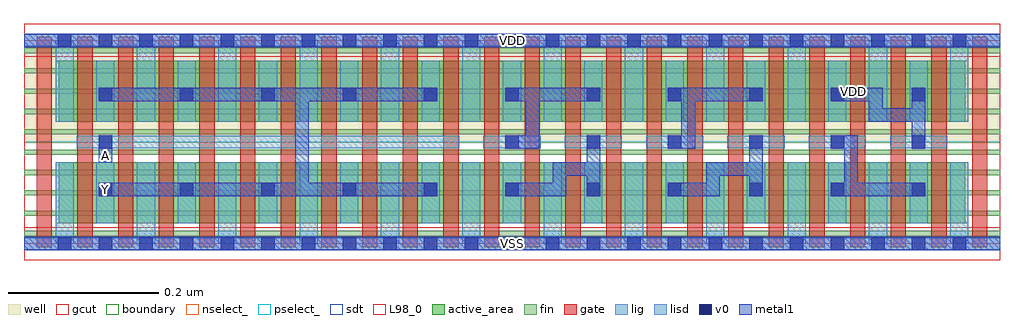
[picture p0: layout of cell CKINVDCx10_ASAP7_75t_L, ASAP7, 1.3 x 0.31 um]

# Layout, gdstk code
import gdstk
lib = gdstk.Library(unit=1e-6, precision=2.5e-10)
def R(c, l, rs):  # rectangles x0, y0, x1, y1
    for r in rs: c.add(gdstk.rectangle(r[:2], r[2:], *l))
def A(c, l, x, y, w, h, nx, ny, dx, dy):  # array of equal rectangles
    R(c, l, [(x+i*dx, y+j*dy, x+i*dx+w, y+j*dy+h) for i in range(nx) for j in range(ny)])
def P(c, l, *ps):  # polygons
    for p in ps: c.add(gdstk.Polygon(p, *l))
well = (1, 0)
fin = (2, 0)
gate = (7, 0)
gcut = (10, 0)
active_area = (11, 0)
nselect_ = (12, 0)
pselect_ = (13, 0)
lig = (16, 0)
lisd = (17, 0)
v0 = (18, 0)
metal1 = (19, 0)
sdt = (88, 0)
L98_0 = (98, 0)
boundary = (100, 0)

ckinvdcx10_asap7_75t_l = lib.new_cell('CKINVDCx10_ASAP7_75t_L')
R(ckinvdcx10_asap7_75t_l, well, [(0,0.135,1.296,0.27)])
A(ckinvdcx10_asap7_75t_l, fin, 0, 0.01, 1.296, 0.007, 1, 10, 0, 0.027)
A(ckinvdcx10_asap7_75t_l, gate, 0.017, -0.005, 0.02, 0.28, 24, 1, 0.054, 0)
R(ckinvdcx10_asap7_75t_l, gcut, [(0,-0.022,1.296,0.022), (0,0.248,1.296,0.292)])
R(ckinvdcx10_asap7_75t_l, active_area, [(0.046,0.027,1.25,0.108), (0.046,0.162,1.25,0.243)])
R(ckinvdcx10_asap7_75t_l, nselect_, [(0,0,1.296,0.135)])
R(ckinvdcx10_asap7_75t_l, pselect_, [(0,0.135,1.296,0.27)])
A(ckinvdcx10_asap7_75t_l, lig, 0.61, 0.127, 0.076, 0.016, 6, 1, 0.108, 0)
R(ckinvdcx10_asap7_75t_l, lig, [(0,-0.008,1.296,0.008), (0.07,0.127,0.578,0.143), (0,0.262,1.296,0.278)])
A(ckinvdcx10_asap7_75t_l, lisd, 0.042, 0, 0.024, 0.108, 12, 2, 0.108, 0.162)
A(ckinvdcx10_asap7_75t_l, lisd, 0.096, 0.027, 0.024, 0.081, 11, 2, 0.108, 0.135)
A(ckinvdcx10_asap7_75t_l, v0, 0.045, -0.009, 0.018, 0.018, 23, 2, 0.054, 0.27)
A(ckinvdcx10_asap7_75t_l, v0, 0.099, 0.063, 0.018, 0.018, 11, 2, 0.108, 0.126)
A(ckinvdcx10_asap7_75t_l, v0, 0.639, 0.126, 0.018, 0.018, 6, 1, 0.108, 0)
R(ckinvdcx10_asap7_75t_l, v0, [(0.099,0.126,0.117,0.144)])
R(ckinvdcx10_asap7_75t_l, metal1, [(0,-0.009,1.296,0.009), (0.099,0.108,0.117,0.144), (0,0.261,1.296,0.279)])
P(ckinvdcx10_asap7_75t_l, metal1, [(1.197,0.081),(1.107,0.081),(1.107,0.144),(1.071,0.144),(1.071,0.126),(1.089,0.126),(1.089,0.081),(1.071,0.081),(1.071,0.063),(1.197,0.063)],
  [(0.924,0.09),(0.963,0.09),(0.963,0.063),(0.981,0.063),(0.981,0.144),(0.963,0.144),(0.963,0.108),(0.906,0.108),(0.906,0.081),(0.855,0.081),(0.855,0.063),(0.924,0.063)],
  [(0.72,0.09),(0.747,0.09),(0.747,0.063),(0.765,0.063),(0.765,0.144),(0.747,0.144),(0.747,0.108),(0.702,0.108),(0.702,0.081),(0.639,0.081),(0.639,0.063),(0.72,0.063)],
  [(1.179,0.207),(1.179,0.18),(1.14,0.18),(1.14,0.207),(1.071,0.207),(1.071,0.189),(1.122,0.189),(1.122,0.162),(1.179,0.162),(1.179,0.126),(1.197,0.126),(1.197,0.207)],
  [(0.891,0.189),(0.981,0.189),(0.981,0.207),(0.855,0.207),(0.855,0.189),(0.873,0.189),(0.873,0.144),(0.855,0.144),(0.855,0.126),(0.891,0.126)],
  [(0.684,0.189),(0.765,0.189),(0.765,0.207),(0.639,0.207),(0.639,0.189),(0.666,0.189),(0.666,0.144),(0.639,0.144),(0.639,0.126),(0.684,0.126)],
  [(0.549,0.081),(0.378,0.081),(0.378,0.189),(0.549,0.189),(0.549,0.207),(0.099,0.207),(0.099,0.189),(0.36,0.189),(0.36,0.081),(0.099,0.081),(0.099,0.063),(0.549,0.063)])
A(ckinvdcx10_asap7_75t_l, sdt, 0.042, 0.027, 0.024, 0.081, 23, 2, 0.054, 0.135)
R(ckinvdcx10_asap7_75t_l, L98_0, [(0,0,1.296,0.27)])
R(ckinvdcx10_asap7_75t_l, boundary, [(0,0,1.296,0.27)])
ckinvdcx10_asap7_75t_l.add(gdstk.Label('Y', (0.108,0.072), layer=19, texttype=251))
ckinvdcx10_asap7_75t_l.add(gdstk.Label('A', (0.108,0.117), layer=19, texttype=251))
ckinvdcx10_asap7_75t_l.add(gdstk.Label('VSS', (0.648,0), layer=19, texttype=251))
ckinvdcx10_asap7_75t_l.add(gdstk.Label('VDD', (0.648,0.27), layer=19, texttype=251))
ckinvdcx10_asap7_75t_l.add(gdstk.Label('VDD', (1.1015,0.2025), layer=1, texttype=251))
ckinvdcx10_asap7_75t_l.add(gdstk.Label('VSS', (1.4905,0.2025), layer=3, texttype=251))

lib.write_gds('CKINVDCx10_ASAP7_75t_L.gds')
